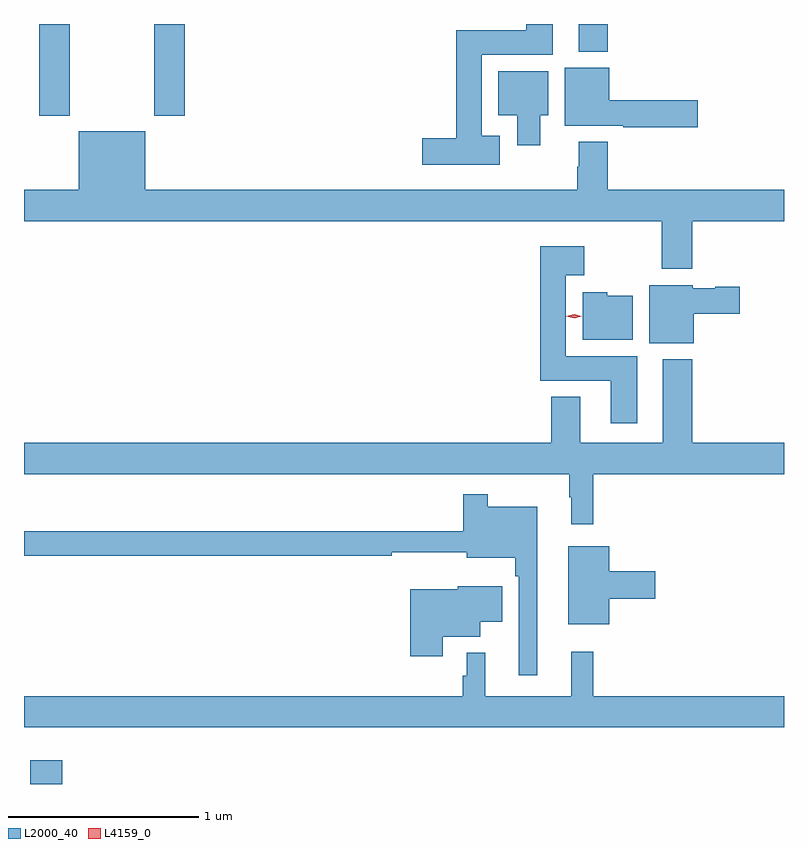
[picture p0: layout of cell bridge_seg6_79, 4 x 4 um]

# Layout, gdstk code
import gdstk
lib = gdstk.Library(unit=1e-6, precision=1e-09)
def R(c, l, rs):  # rectangles x0, y0, x1, y1
    for r in rs: c.add(gdstk.rectangle(r[:2], r[2:], *l))
def P(c, l, *ps):  # polygons
    for p in ps: c.add(gdstk.Polygon(p, *l))
L2000_40 = (2000, 40)
L4159_0 = (4159, 0)

bridge_seg6_79 = lib.new_cell('bridge_seg6_79')
R(bridge_seg6_79, L2000_40, [(733.649,923.061,733.817,923.185), (733.697,926.577,733.857,927.061), (734.302,926.577,734.462,927.061), (736.535,926.915,736.688,927.061)])
P(bridge_seg6_79, L2000_40, [(736.12,926.473),(736.024,926.473),(736.024,926.9),(736.399,926.9),(736.399,927.061),(736.259,927.061),(736.259,927.028),(735.89,927.028),(735.89,926.459),(735.711,926.459),(735.711,926.321),(736.12,926.321)],
  [(737.161,926.66),(736.696,926.66),(736.696,926.83),(736.463,926.83),(736.463,926.525),(736.771,926.525),(736.771,926.518),(737.161,926.518)],
  [(736.333,926.582),(736.375,926.582),(736.375,926.812),(736.112,926.812),(736.112,926.582),(736.211,926.582),(736.211,926.424),(736.333,926.424)],
  [(737.132,926.024),(737.616,926.024),(737.616,926.188),(736.688,926.188),(736.688,926.44),(736.535,926.44),(736.535,926.309),(736.528,926.309),(736.528,926.188),(734.254,926.188),(734.254,926.497),(733.904,926.497),(733.904,926.188),(733.616,926.188),(733.616,926.024),(736.972,926.024),(736.972,925.772),(737.132,925.772)],
  [(736.843,925.312),(736.468,925.312),(736.468,925.739),(736.564,925.739),(736.564,925.891),(736.334,925.891),(736.334,925.184),(736.703,925.184),(736.703,924.96),(736.843,924.96)],
  [(737.14,925.535),(737.383,925.535),(737.383,925.677),(737.253,925.677),(737.253,925.669),(737.136,925.669),(737.136,925.687),(736.907,925.687),(736.907,925.382),(737.14,925.382)],
  [(736.819,925.63),(736.686,925.63),(736.686,925.648),(736.556,925.648),(736.556,925.4),(736.819,925.4)],
  [(736.613,924.692),(737.616,924.692),(737.616,924.856),(737.132,924.856),(737.132,925.297),(736.979,925.297),(736.979,924.856),(736.543,924.856),(736.543,925.099),(736.391,925.099),(736.391,924.856),(733.616,924.856),(733.616,924.692),(736.485,924.692),(736.485,924.569),(736.496,924.569),(736.496,924.429),(736.613,924.429)],
  [(736.318,924.52),(736.057,924.52),(736.057,924.586),(735.928,924.586),(735.928,924.391),(733.616,924.391),(733.616,924.262),(735.551,924.262),(735.551,924.281),(735.947,924.281),(735.947,924.251),(736.201,924.251),(736.201,924.155),(736.221,924.155),(736.221,923.634),(736.318,923.634)],
  [(736.696,924.035),(736.939,924.035),(736.939,924.182),(736.696,924.182),(736.696,924.313),(736.481,924.313),(736.481,923.903),(736.696,923.903)],
  [(735.82,923.837),(736.018,923.837),(736.018,923.915),(736.132,923.915),(736.132,924.103),(735.9,924.103),(735.9,924.085),(735.65,924.085),(735.65,923.733),(735.82,923.733)],
  [(737.616,923.524),(736.613,923.524),(736.613,923.758),(736.496,923.758),(736.496,923.524),(736.043,923.524),(736.043,923.752),(735.945,923.752),(735.945,923.631),(735.925,923.631),(735.925,923.524),(733.616,923.524),(733.616,923.36),(737.616,923.36)])
P(bridge_seg6_79, L4159_0, [(736.511,925.513),(736.471,925.523),(736.471,925.523),(736.471,925.523),(736.511,925.533),(736.552,925.524),(736.552,925.524),(736.552,925.523)])

lib.write_gds('bridge_seg6_79.gds')
